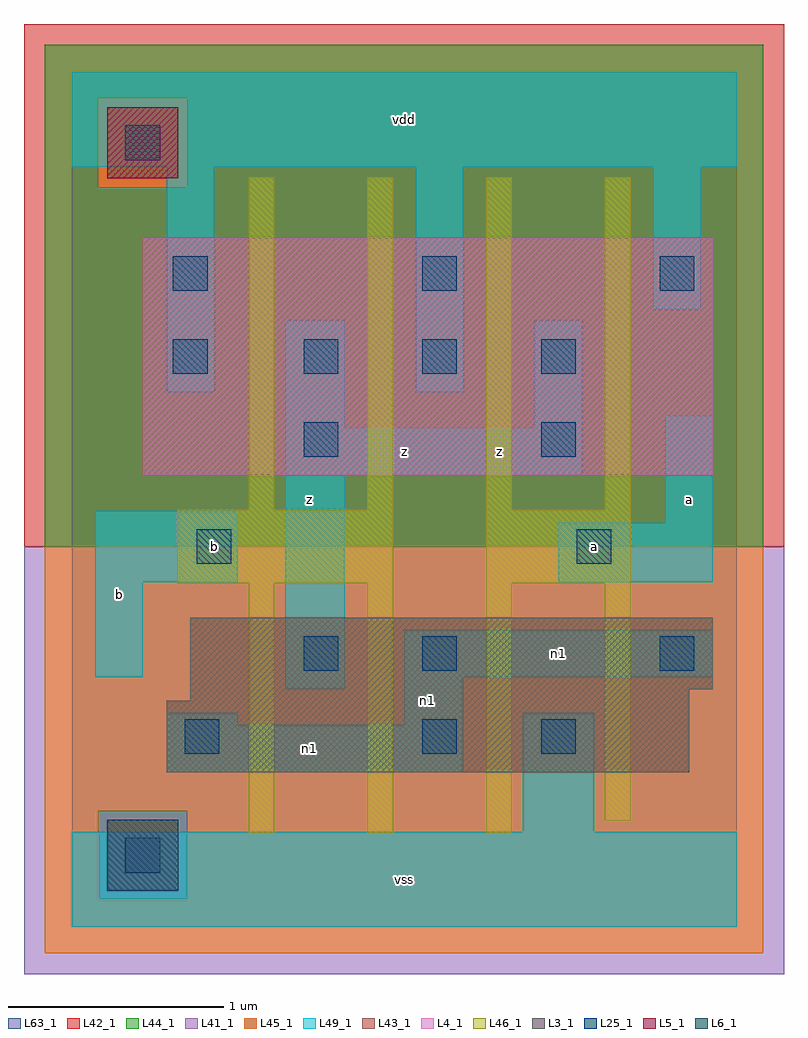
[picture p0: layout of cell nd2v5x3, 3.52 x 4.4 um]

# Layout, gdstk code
import gdstk
lib = gdstk.Library(unit=1e-6, precision=1e-09)
def R(c, l, rs):  # rectangles x0, y0, x1, y1
    for r in rs: c.add(gdstk.rectangle(r[:2], r[2:], *l))
def A(c, l, x, y, w, h, nx, ny, dx, dy):  # array of equal rectangles
    R(c, l, [(x+i*dx, y+j*dy, x+i*dx+w, y+j*dy+h) for i in range(nx) for j in range(ny)])
L3_1 = (3, 1)
L4_1 = (4, 1)
L5_1 = (5, 1)
L6_1 = (6, 1)
L25_1 = (25, 1)
L41_1 = (41, 1)
L42_1 = (42, 1)
L43_1 = (43, 1)
L44_1 = (44, 1)
L45_1 = (45, 1)
L46_1 = (46, 1)
L49_1 = (49, 1)
L63_1 = (63, 1)

nd2v5x3 = lib.new_cell('nd2v5x3')
R(nd2v5x3, L3_1, [(0.44,0.715,2.86,1.045), (0.55,1.045,2.86,1.1), (0.55,1.1,2.97,1.43)])
R(nd2v5x3, L4_1, [(0.33,2.09,2.97,3.19)])
R(nd2v5x3, L5_1, [(0.165,3.465,0.495,3.795)])
R(nd2v5x3, L6_1, [(0.165,0.165,0.495,0.495)])
A(nd2v5x3, L25_1, 1.075, 2.56, 0.16, 0.16, 3, 1, 0.55, 0)
R(nd2v5x3, L25_1, [(0.25,0.25,0.41,0.41), (0.525,0.8,0.685,0.96), (1.625,0.8,1.785,0.96), (2.175,0.8,2.335,0.96), (1.075,1.185,1.235,1.345), (1.625,1.185,1.785,1.345), (2.725,1.185,2.885,1.345), (0.58,1.68,0.74,1.84), (2.34,1.68,2.5,1.84), (1.075,2.175,1.235,2.335), (2.175,2.175,2.335,2.335), (0.47,2.56,0.63,2.72), (0.47,2.945,0.63,3.105), (1.625,2.945,1.785,3.105), (2.725,2.945,2.885,3.105), (0.25,3.55,0.41,3.71)])
R(nd2v5x3, L41_1, [(-0.22,-0.22,3.3,1.76)])
R(nd2v5x3, L42_1, [(-0.22,1.76,3.3,4.18)])
R(nd2v5x3, L43_1, [(0.165,0.165,0.495,0.495), (0.44,0.715,2.86,1.045), (0.55,1.045,2.86,1.1), (0.55,1.1,2.97,1.43), (0.33,2.09,2.97,3.19), (0.165,3.465,0.495,3.795)])
R(nd2v5x3, L44_1, [(0.125,0.125,0.535,0.535), (-0.125,1.76,3.205,3.425), (-0.125,3.425,0.125,3.835), (0.535,3.425,3.205,3.835), (-0.125,3.835,3.205,4.085)])
R(nd2v5x3, L45_1, [(-0.125,-0.125,3.205,0.125), (-0.125,0.125,0.125,0.535), (0.535,0.125,3.205,0.535), (-0.125,0.535,3.205,1.76), (0.125,3.425,0.535,3.835)])
A(nd2v5x3, L46_1, 0.82, 0.435, 0.12, 1.155, 3, 1, 0.55, 0)
A(nd2v5x3, L46_1, 0.82, 1.93, 0.12, 1.54, 4, 1, 0.55, 0)
R(nd2v5x3, L46_1, [(2.47,0.49,2.59,1.59), (0.49,1.59,1.49,1.93), (1.92,1.59,2.59,1.93)])
R(nd2v5x3, L49_1, [(0,0,3.08,0.44), (2.09,0.44,2.42,0.99), (0.44,0.715,1.815,0.935), (0.44,0.935,0.77,0.99), (1.54,0.935,1.815,1.155), (0.99,1.1,1.265,2.09), (0.11,1.155,0.33,1.595), (1.54,1.155,2.97,1.375), (0.11,1.595,0.77,1.925), (2.255,1.595,2.97,1.87), (2.75,1.87,2.97,2.365), (0.99,2.09,2.365,2.31), (0.99,2.31,1.265,2.805), (2.145,2.31,2.365,2.805), (0.44,2.475,0.66,3.52), (1.595,2.475,1.815,3.52), (2.695,2.86,2.915,3.52), (0,3.52,3.08,3.96)])
R(nd2v5x3, L63_1, [(0,0,3.08,3.96)])
nd2v5x3.add(gdstk.Label('b', (0.22,1.54), layer=49, texttype=1))
nd2v5x3.add(gdstk.Label('b', (0.66,1.76), layer=49, texttype=1))
nd2v5x3.add(gdstk.Label('z', (1.1,1.98), layer=49, texttype=1))
nd2v5x3.add(gdstk.Label('vss', (1.54,0.22), layer=49, texttype=1))
nd2v5x3.add(gdstk.Label('n1', (1.1,0.825), layer=49, texttype=1))
nd2v5x3.add(gdstk.Label('n1', (1.65,1.045), layer=49, texttype=1))
nd2v5x3.add(gdstk.Label('z', (1.98,2.2), layer=49, texttype=1))
nd2v5x3.add(gdstk.Label('z', (1.54,2.2), layer=49, texttype=1))
nd2v5x3.add(gdstk.Label('vdd', (1.54,3.74), layer=49, texttype=1))
nd2v5x3.add(gdstk.Label('a', (2.42,1.76), layer=49, texttype=1))
nd2v5x3.add(gdstk.Label('n1', (2.255,1.265), layer=49, texttype=1))
nd2v5x3.add(gdstk.Label('a', (2.86,1.98), layer=49, texttype=1))

lib.write_gds('nd2v5x3.gds')
